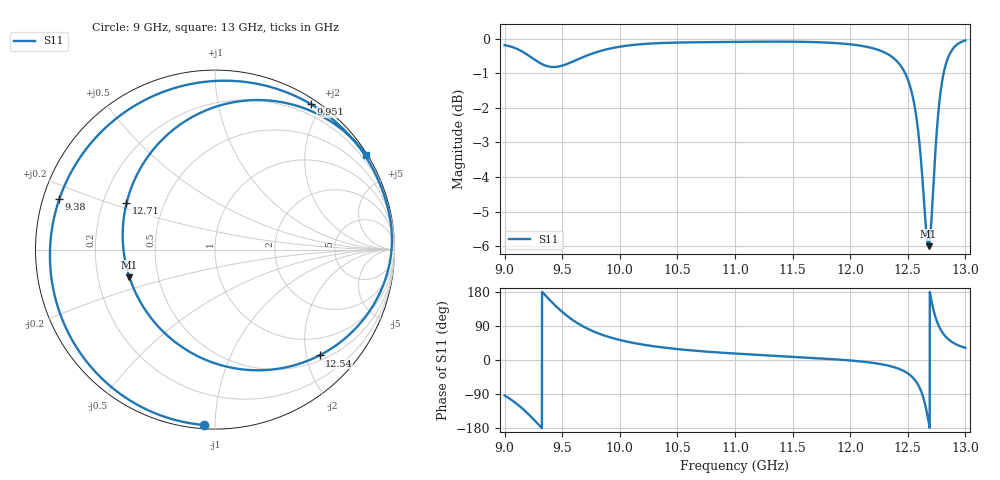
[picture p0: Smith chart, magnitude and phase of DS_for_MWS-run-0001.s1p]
! TOUCHSTONE file generated by CST DESIGN STUDIO
! Date and time: Tue Feb  4 16:27:38 2025
! Project name: C:\Work\MatlabApps\UnitCellOptimizationMatlab\CST\unitcell.cst
! Tree item: Tasks\Sweep1\SPara1\S-Parameters
! Header version: 2024
! Port assignment regex: !\s*Touchstone port\s*([0-9]+)\s*=\s*(CST MWS port|CST DES external port|CST DES block port)\s*(.+)\s* \(\"(.*)\"\)(\s*mode\s*([0-9]+))?.*
! Touchstone port assignment:
! Touchstone port 1 = CST DES external port 1 ("")
# GHz S MA R 50
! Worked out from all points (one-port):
!   4001 points, 9 GHz to 13 GHz, reference 50 ohm
!   lowest |S11| = -6.0 dB at 12.68 GHz (marker M1), VSWR 3.01, Z = 17 - j7.04 ohm
!   |S11| at or under -10 dB: nowhere
!   S11 on the Smith chart (normalised r, x): 9 GHz: 0.02, -0.94; 9.38 GHz: 0.05, +0.16; 9.951 GHz: 0.07, +1.85; 12.54 GHz: 0.60, -2.26; 12.71 GHz: 0.30, +0.22; 13 GHz: 0.04, +3.49
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9  0.979 -93.7
9.09  0.9697 -112.1
9.171  0.9544 -132.7
9.281  0.9279 -165.9
9.38  0.912 162.1
9.5  0.9145 127.0
9.579  0.9249 108.1
9.67  0.9391 90.6
9.803  0.9571 71.5
9.951  0.9707 56.7
10  0.974 52.8
10.5  0.9875 28.8
11  0.9898 17.0
11.5  0.9905 8.5
12  0.9818 -1.2
12.338  0.9477 -15.4
12.5  0.8732 -35.3
12.54  0.8287 -45.3
12.582  0.754 -61.5
12.623  0.6406 -88.1
12.651  0.5501 -117.8
12.68  0.5011 -162.0
12.708  0.5564 152.4
12.747  0.7172 106.9
12.788  0.8461 78.7
12.828  0.916 61.9
12.874  0.9575 49.5
13  0.9945 32.0
